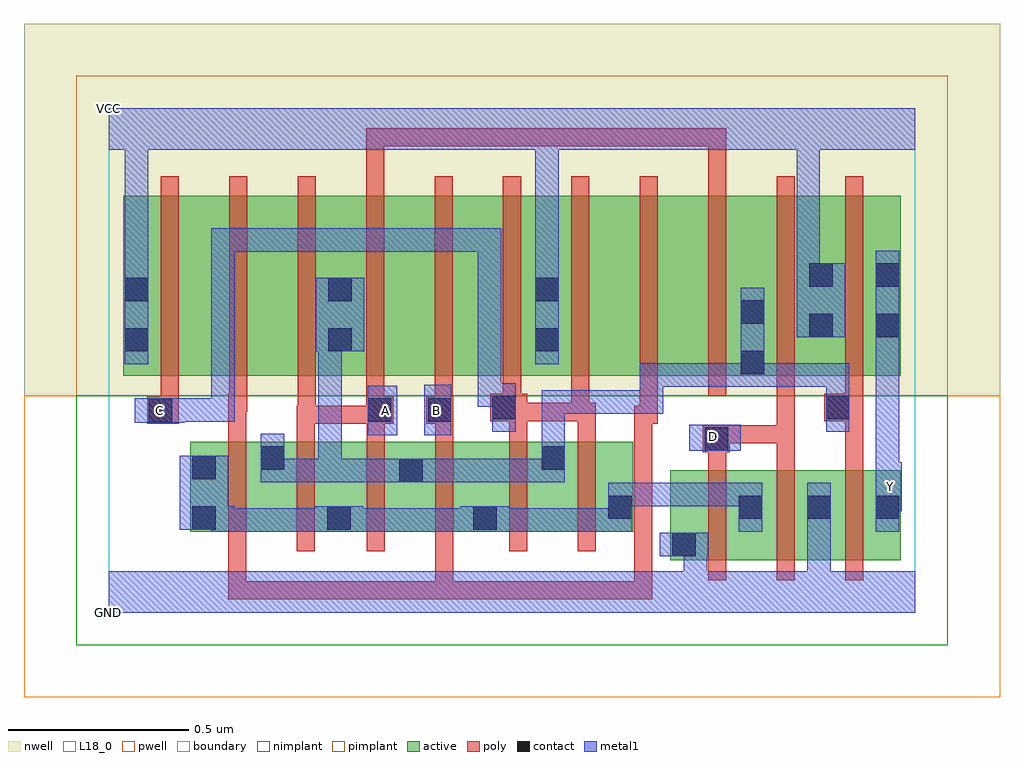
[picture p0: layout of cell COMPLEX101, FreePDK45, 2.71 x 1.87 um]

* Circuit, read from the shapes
.subckt COMPLEX101 A B C D GND VCC Y
M1 n1 B n2 VSUBS nfet w=0.25u l=0.05u m=2
M2 n2 A n1 VSUBS nfet w=0.25u l=0.05u m=2
M3 n1 C n2 VSUBS nfet w=0.25u l=0.05u m=2
M4 n2 D GND VSUBS nfet w=0.25u l=0.05u m=2
M5 Y n1 GND VSUBS nfet w=0.25u l=0.05u
M6 n3 C VCC n4 pfet w=0.5u l=0.05u
M7 n5 B n3 n4 pfet w=0.5u l=0.05u
M8 n1 A n5 n4 pfet w=0.5u l=0.05u
M9 n6 A n1 n4 pfet w=0.5u l=0.05u
M10 n7 B n6 n4 pfet w=0.5u l=0.05u
M11 VCC C n7 n4 pfet w=0.5u l=0.05u
M12 n8 C VCC n4 pfet w=0.5u l=0.05u
M13 n9 B n8 n4 pfet w=0.5u l=0.05u
M14 n1 A n9 n4 pfet w=0.5u l=0.05u
M15 VCC D n1 n4 pfet w=0.5u l=0.05u
M16 Y n1 VCC n4 pfet w=0.5u l=0.05u
.ends

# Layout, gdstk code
import gdstk
lib = gdstk.Library(unit=1e-6, precision=1e-09)
def R(c, l, rs):  # rectangles x0, y0, x1, y1
    for r in rs: c.add(gdstk.rectangle(r[:2], r[2:], *l))
def A(c, l, x, y, w, h, nx, ny, dx, dy):  # array of equal rectangles
    R(c, l, [(x+i*dx, y+j*dy, x+i*dx+w, y+j*dy+h) for i in range(nx) for j in range(ny)])
active = (1, 0)
pwell = (2, 0)
nwell = (3, 0)
nimplant = (4, 0)
pimplant = (5, 0)
poly = (9, 0)
contact = (10, 0)
metal1 = (11, 0)
L18_0 = (18, 0)
boundary = (235, 0)

complex101 = lib.new_cell('COMPLEX101')
A(complex101, active, 0.265, 0.657, 0.19, 0.5, 3, 1, 0.57, 0)
R(complex101, active, [(1.56,0.145,1.635,0.395), (1.56,0.145,1.82,0.395), (1.745,0.145,2.01,0.395), (1.935,0.145,2.2,0.395), (1.935,0.145,2.01,0.395), (1.745,0.2,1.82,0.395), (2.125,0.2,2.2,0.395), (0.227,0.225,0.492,0.475), (0.227,0.225,0.302,0.475), (0.417,0.225,0.677,0.475), (0.602,0.225,0.877,0.475), (0.602,0.225,0.677,0.467), (0.802,0.225,1.082,0.475), (1.007,0.225,1.272,0.475), (1.007,0.225,1.082,0.405), (1.197,0.225,1.457,0.475), (1.382,0.225,1.457,0.475), (0.417,0.297,0.492,0.467), (0.802,0.297,0.877,0.432), (1.197,0.297,1.272,0.467), (0.04,0.657,0.115,1.157), (0.04,0.657,0.265,1.157), (0.455,0.657,0.68,1.157), (0.605,0.657,0.835,1.157), (0.605,0.657,0.68,1.07), (1.025,0.657,1.255,1.157), (1.18,0.657,1.255,1.157), (1.18,0.657,1.405,1.157), (1.595,0.657,1.825,1.157), (1.75,0.657,1.825,1.157), (1.75,0.657,2.015,1.157), (1.94,0.657,2.015,1.157), (1.94,0.657,2.2,1.157), (2.125,0.657,2.2,1.157)])
R(complex101, pwell, [(-0.235,-0.235,2.475,0.602)])
R(complex101, nwell, [(-0.235,0.602,2.475,1.635)])
R(complex101, nimplant, [(-0.09,-0.09,2.33,0.602)])
R(complex101, pimplant, [(-0.09,0.602,2.33,1.49)])
A(complex101, poly, 1.665, 0.09, 0.05, 0.36, 3, 1, 0.19, 0)
A(complex101, poly, 0.145, 0.602, 0.05, 0.61, 11, 1, 0.19, 0)
R(complex101, poly, [(0.332,0.037,0.382,0.087), (0.332,0.037,0.382,0.087), (0.332,0.037,0.382,0.087), (0.332,0.037,0.382,0.22), (0.332,0.037,0.517,0.087), (0.467,0.037,0.517,0.087), (0.467,0.037,0.517,0.087), (0.467,0.037,0.517,0.087), (0.467,0.037,0.707,0.087), (0.657,0.037,0.707,0.087), (0.657,0.037,0.707,0.087), (0.657,0.037,0.707,0.087), (0.657,0.037,0.957,0.087), (0.907,0.037,0.957,0.087), (0.907,0.037,0.957,0.087), (0.907,0.037,0.957,0.087), (0.907,0.037,0.957,0.22), (0.907,0.037,1.09,0.087), (1.04,0.037,1.09,0.087), (1.04,0.037,1.09,0.087), (1.04,0.037,1.09,0.087), (1.04,0.037,1.335,0.087), (1.285,0.037,1.335,0.087), (1.285,0.037,1.335,0.087), (1.285,0.037,1.335,0.087), (1.285,0.037,1.51,0.087), (1.46,0.037,1.51,0.087), (1.46,0.037,1.51,0.087), (1.46,0.037,1.51,0.087), (1.46,0.037,1.51,0.575), (0.332,0.17,0.382,0.53), (0.522,0.17,0.572,0.53), (0.717,0.17,0.767,0.53), (0.907,0.17,0.957,0.53), (1.112,0.17,1.162,0.53), (1.302,0.17,1.352,0.53), (1.665,0.4,1.715,0.495), (1.855,0.4,1.905,0.52), (2.045,0.4,2.095,0.582), (1.65,0.445,1.725,0.52), (1.675,0.47,1.905,0.52), (1.675,0.47,1.725,0.52), (1.675,0.47,1.725,0.52), (1.855,0.47,1.905,0.652), (1.855,0.47,1.905,0.52), (0.332,0.48,0.382,0.607), (0.522,0.48,0.572,0.575), (0.717,0.48,0.767,0.575), (0.907,0.48,0.957,0.575), (1.112,0.48,1.162,0.582), (1.302,0.48,1.352,0.582), (0.107,0.525,0.195,0.6), (0.522,0.525,0.575,0.575), (0.525,0.525,0.575,0.575), (0.525,0.525,0.575,0.575), (0.525,0.525,0.575,0.652), (0.525,0.525,0.765,0.575), (0.715,0.525,0.79,0.6), (0.882,0.525,0.957,0.6), (1.46,0.525,1.51,0.575), (1.46,0.525,1.51,0.575), (1.46,0.525,1.525,0.575), (1.475,0.525,1.525,0.652), (1.06,0.532,1.162,0.607), (1.112,0.532,1.162,0.582), (1.112,0.532,1.162,0.582), (1.112,0.532,1.335,0.582), (1.285,0.532,1.335,0.652), (1.285,0.532,1.352,0.582), (1.987,0.532,2.095,0.607), (0.145,0.55,0.195,0.652), (0.715,0.55,0.765,0.652), (0.905,0.55,0.955,0.652), (0.332,0.557,0.385,0.607), (0.335,0.557,0.385,0.652), (1.095,0.557,1.145,0.652), (2.045,0.557,2.095,0.652), (0.715,1.162,0.765,1.345), (1.665,1.162,1.715,1.345), (0.715,1.295,0.765,1.345), (0.715,1.295,0.765,1.345), (0.715,1.295,0.765,1.345), (0.715,1.295,0.957,1.345), (0.907,1.295,0.957,1.345), (0.907,1.295,0.957,1.345), (0.907,1.295,0.957,1.345), (0.907,1.295,1.202,1.345), (1.152,1.295,1.202,1.345), (1.152,1.295,1.202,1.345), (1.152,1.295,1.202,1.345), (1.152,1.295,1.377,1.345), (1.327,1.295,1.377,1.345), (1.327,1.295,1.377,1.345), (1.327,1.295,1.377,1.345), (1.327,1.295,1.51,1.345), (1.46,1.295,1.51,1.345), (1.46,1.295,1.51,1.345), (1.46,1.295,1.51,1.345), (1.46,1.295,1.715,1.345), (1.665,1.295,1.715,1.345)])
A(complex101, contact, 1.75, 0.26, 0.065, 0.065, 3, 1, 0.19, 0)
R(complex101, contact, [(1.565,0.157,1.63,0.222), (0.232,0.23,0.297,0.295), (0.607,0.23,0.672,0.295), (1.012,0.23,1.077,0.295), (1.387,0.26,1.452,0.325), (0.807,0.362,0.872,0.427), (0.232,0.37,0.297,0.435), (0.422,0.397,0.487,0.462), (1.202,0.397,1.267,0.462), (1.655,0.45,1.72,0.515), (0.112,0.53,0.177,0.595), (0.72,0.53,0.785,0.595), (0.887,0.53,0.952,0.595), (1.065,0.537,1.13,0.602), (1.992,0.537,2.057,0.602), (1.755,0.662,1.82,0.727), (0.045,0.725,0.11,0.79), (0.61,0.725,0.675,0.79), (1.185,0.725,1.25,0.79), (1.945,0.765,2.01,0.83), (2.13,0.765,2.195,0.83), (1.755,0.802,1.82,0.867), (0.045,0.865,0.11,0.93), (0.61,0.865,0.675,0.93), (1.185,0.865,1.25,0.93), (1.945,0.905,2.01,0.97), (2.13,0.905,2.195,0.97)])
A(complex101, metal1, 1.75, 0.225, 0.065, 0.135, 3, 1, 0.19, 0)
R(complex101, metal1, [(0,0,2.24,0.115), (1.597,0.05,1.662,0.222), (1.94,0.05,2.005,0.115), (1.94,0.05,2.005,0.115), (1.94,0.05,2.005,0.115), (1.94,0.05,2.005,0.115), (1.94,0.05,2.005,0.29), (1.53,0.157,1.665,0.222), (1.597,0.157,1.662,0.222), (1.597,0.157,1.662,0.222), (1.597,0.157,1.662,0.222), (1.597,0.157,1.662,0.222), (0.285,0.225,0.487,0.29), (0.285,0.225,0.35,0.295), (0.422,0.225,0.487,0.29), (0.422,0.225,0.562,0.29), (0.497,0.225,0.562,0.29), (0.497,0.225,0.637,0.29), (0.572,0.225,0.707,0.295), (0.642,0.225,0.805,0.29), (0.74,0.225,0.805,0.29), (0.74,0.225,0.845,0.29), (0.78,0.225,0.845,0.29), (0.78,0.225,0.992,0.29), (0.927,0.225,0.992,0.29), (0.927,0.225,1.042,0.29), (0.977,0.225,1.112,0.295), (1.047,0.225,1.25,0.29), (1.185,0.225,1.25,0.29), (1.185,0.225,1.25,0.29), (1.185,0.225,1.25,0.29), (1.185,0.225,1.387,0.29), (1.322,0.225,1.387,0.29), (1.322,0.225,1.452,0.29), (1.387,0.225,1.452,0.36), (0.197,0.23,0.332,0.435), (0.267,0.23,0.35,0.295), (2.13,0.282,2.202,0.417), (1.387,0.295,1.452,0.36), (1.387,0.295,1.452,0.36), (1.387,0.295,1.525,0.36), (1.46,0.295,1.525,0.36), (1.46,0.295,1.677,0.36), (1.612,0.295,1.677,0.36), (1.612,0.295,1.677,0.36), (1.612,0.295,1.677,0.36), (1.612,0.295,1.815,0.36), (2.13,0.295,2.195,0.36), (2.13,0.352,2.195,0.795), (0.422,0.362,0.487,0.427), (0.422,0.362,0.487,0.427), (0.422,0.362,0.487,0.497), (0.422,0.362,0.647,0.427), (0.582,0.362,0.647,0.427), (0.582,0.362,0.805,0.427), (0.582,0.362,0.647,0.79), (0.74,0.362,0.805,0.427), (0.74,0.362,0.837,0.427), (0.772,0.362,0.907,0.427), (0.842,0.362,0.942,0.427), (0.877,0.362,0.942,0.427), (0.877,0.362,1.112,0.427), (1.047,0.362,1.112,0.427), (1.047,0.362,1.217,0.427), (1.152,0.362,1.217,0.427), (1.152,0.362,1.267,0.427), (1.202,0.362,1.267,0.497), (1.202,0.432,1.267,0.497), (1.202,0.432,1.267,0.497), (1.202,0.432,1.267,0.617), (1.612,0.45,1.755,0.522), (0.72,0.492,0.802,0.63), (0.877,0.492,0.952,0.632), (1.065,0.502,1.13,0.637), (1.992,0.502,2.057,0.637), (0.072,0.527,0.212,0.595), (0.147,0.53,0.35,0.595), (0.285,0.53,0.35,0.595), (0.285,0.53,0.35,1.067), (1.202,0.552,1.267,0.617), (1.202,0.552,1.387,0.617), (1.322,0.552,1.387,0.617), (1.322,0.552,1.405,0.617), (1.34,0.552,1.405,0.617), (1.34,0.552,1.54,0.617), (1.475,0.552,1.54,0.692), (1.025,0.572,1.09,0.637), (1.025,0.572,1.13,0.637), (1.025,0.572,1.09,1.067), (1.992,0.572,2.057,0.637), (1.992,0.572,2.057,0.637), (1.992,0.572,2.057,0.692), (1.475,0.627,1.677,0.692), (1.612,0.627,1.677,0.692), (1.612,0.627,1.677,0.692), (1.612,0.627,1.677,0.692), (1.612,0.627,1.82,0.692), (1.755,0.627,1.82,0.902), (1.755,0.627,1.82,0.692), (1.755,0.627,1.82,0.692), (1.755,0.627,2.057,0.692), (1.992,0.627,2.057,0.692), (0.045,0.69,0.11,0.965), (1.185,0.69,1.25,0.965), (0.575,0.725,0.71,0.93), (0.582,0.725,0.647,0.79), (0.582,0.725,0.647,0.79), (2.13,0.73,2.195,1.005), (1.91,0.765,2.045,0.97), (0.045,0.9,0.11,1.35), (1.185,0.9,1.25,0.965), (1.185,0.9,1.25,0.965), (1.185,0.9,1.25,1.35), (1.91,0.905,1.975,1.35), (0.285,1.002,0.35,1.067), (0.285,1.002,0.35,1.067), (0.285,1.002,0.35,1.067), (0.285,1.002,0.35,1.067), (0.285,1.002,0.35,1.067), (0.285,1.002,0.5,1.067), (0.435,1.002,0.5,1.067), (0.435,1.002,0.5,1.067), (0.435,1.002,0.5,1.067), (0.435,1.002,0.7,1.067), (0.635,1.002,0.7,1.067), (0.635,1.002,0.7,1.067), (0.635,1.002,0.7,1.067), (0.635,1.002,0.847,1.067), (0.782,1.002,0.847,1.067), (0.782,1.002,0.847,1.067), (0.782,1.002,0.847,1.067), (0.782,1.002,0.992,1.067), (0.927,1.002,0.992,1.067), (0.927,1.002,1.09,1.067), (1.025,1.002,1.09,1.067), (0,1.285,2.24,1.4), (0.045,1.285,0.11,1.35), (0.045,1.285,0.11,1.35), (1.91,1.285,1.975,1.35), (1.91,1.285,1.975,1.35)])
R(complex101, L18_0, [(0,0,2.24,0.115), (1.597,0.05,1.662,0.222), (1.94,0.05,2.005,0.115), (1.94,0.05,2.005,0.115), (1.94,0.05,2.005,0.115), (1.94,0.05,2.005,0.115), (1.94,0.05,2.005,0.29), (1.53,0.157,1.665,0.222), (1.597,0.157,1.662,0.222), (1.597,0.157,1.662,0.222), (1.597,0.157,1.662,0.222), (1.597,0.157,1.662,0.222), (1.94,0.225,2.005,0.36), (2.13,0.225,2.195,0.36), (2.13,0.282,2.202,0.417), (2.13,0.295,2.195,0.36), (2.137,0.317,2.202,0.382), (2.13,0.352,2.195,0.795), (1.612,0.45,1.755,0.522), (1.647,0.457,1.712,0.522), (0.72,0.492,0.802,0.63), (0.877,0.492,0.952,0.632), (1.065,0.502,1.13,0.637), (0.072,0.527,0.212,0.595), (0.107,0.527,0.172,0.592), (0.737,0.527,0.802,0.592), (0.877,0.527,0.942,0.592), (0.147,0.53,0.35,0.595), (0.285,0.53,0.35,0.595), (0.285,0.53,0.35,1.067), (1.025,0.572,1.09,0.637), (1.025,0.572,1.09,1.067), (1.025,0.572,1.13,0.637), (0.045,0.69,0.11,0.965), (1.185,0.69,1.25,0.965), (2.13,0.73,2.195,1.005), (1.91,0.765,2.045,0.97), (0.045,0.9,0.11,1.35), (1.185,0.9,1.25,0.965), (1.185,0.9,1.25,0.965), (1.185,0.9,1.25,1.35), (1.91,0.905,1.975,1.35), (0.285,1.002,0.35,1.067), (0.285,1.002,0.35,1.067), (0.285,1.002,0.35,1.067), (0.285,1.002,0.35,1.067), (0.285,1.002,0.35,1.067), (0.285,1.002,0.5,1.067), (0.435,1.002,0.5,1.067), (0.435,1.002,0.5,1.067), (0.435,1.002,0.5,1.067), (0.435,1.002,0.7,1.067), (0.635,1.002,0.7,1.067), (0.635,1.002,0.7,1.067), (0.635,1.002,0.7,1.067), (0.635,1.002,0.847,1.067), (0.782,1.002,0.847,1.067), (0.782,1.002,0.847,1.067), (0.782,1.002,0.847,1.067), (0.782,1.002,0.992,1.067), (0.927,1.002,0.992,1.067), (0.927,1.002,1.09,1.067), (1.025,1.002,1.09,1.067), (0,1.285,2.24,1.4), (0.045,1.285,0.11,1.35), (0.045,1.285,0.11,1.35), (1.91,1.285,1.975,1.35), (1.91,1.285,1.975,1.35)])
R(complex101, boundary, [(0,0,2.24,1.4)])
complex101.add(gdstk.Label('A', (0.77,0.56), layer=11, texttype=0))
complex101.add(gdstk.Label('B', (0.91,0.56), layer=11, texttype=0))
complex101.add(gdstk.Label('C', (0.14,0.56), layer=11, texttype=0))
complex101.add(gdstk.Label('D', (1.68,0.49), layer=11, texttype=0))
complex101.add(gdstk.Label('Y', (2.17,0.35), layer=11, texttype=0))
complex101.add(gdstk.Label('VCC', (0,1.4), layer=11, texttype=0))
complex101.add(gdstk.Label('GND', (0,0), layer=11, texttype=0))

lib.write_gds('COMPLEX101.gds')
